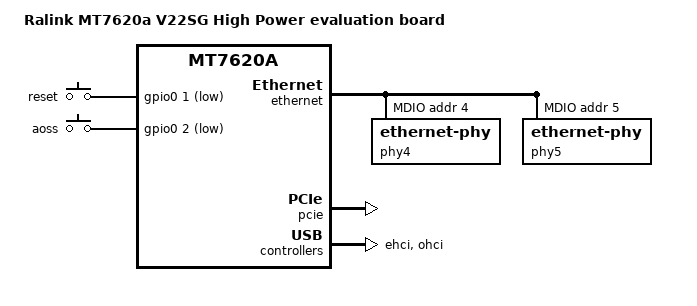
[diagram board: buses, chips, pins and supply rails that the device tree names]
/dts-v1/;

#include "mt7620a.dtsi"

#include <dt-bindings/gpio/gpio.h>
#include <dt-bindings/input/input.h>

/ {
	compatible = "ralink,mt7620a-eval-board", "ralink,mt7620a-soc";
	model = "Ralink MT7620a V22SG High Power evaluation board";

	gpio-keys-polled {
		compatible = "gpio-keys-polled";
		poll-interval = <20>;

		reset {
			label = "reset";
			gpios = <&gpio0 1 GPIO_ACTIVE_LOW>;
			linux,code = <KEY_RESTART>;
		};

		aoss {
			label = "aoss";
			gpios = <&gpio0 2 GPIO_ACTIVE_LOW>;
			linux,code = <KEY_WPS_BUTTON>;
		};
	};

	nand {
		compatible = "mtk,mt7620-nand";

		partitions {
			compatible = "fixed-partitions";
			#address-cells = <1>;
			#size-cells = <1>;

			partition@0 {
				label = "u-boot";
				reg = <0x0 0x40000>;
				read-only;
			};

			partition@40000 {
				label = "u-boot-env";
				reg = <0x40000 0x20000>;
				read-only;
			};

			factory: partition@60000 {
				label = "factory";
				reg = <0x60000 0x20000>;
				read-only;
			};

			partition@80000 {
				compatible = "denx,uimage";
				label = "firmware";
				reg = <0x80000 0x7f80000>;
			};
		};
	};
};

&pinctrl {
	state_default: pinctrl0 {
		gpio {
			ralink,group = "i2c", "uartf", "spi";
			ralink,function = "gpio";
		};
	};
};

&ethernet {
	status = "okay";
	pinctrl-names = "default";
	pinctrl-0 = <&rgmii1_pins &rgmii2_pins &mdio_pins>;
	mediatek,portmap = "llllw";

	port@4 {
		status = "okay";
		phy-handle = <&phy4>;
		phy-mode = "rgmii";
	};

	port@5 {
		status = "okay";
		phy-handle = <&phy5>;
		phy-mode = "rgmii";
	};

	mdio-bus {
		status = "okay";

		phy4: ethernet-phy@4 {
			reg = <4>;
			phy-mode = "rgmii";
		};

		phy5: ethernet-phy@5 {
			reg = <5>;
			phy-mode = "rgmii";
		};
	};
};

&gsw {
	mediatek,port4 = "gmac";
};

&pcie {
	status = "okay";
};

&ehci {
	status = "okay";
};

&ohci {
	status = "okay";
};
